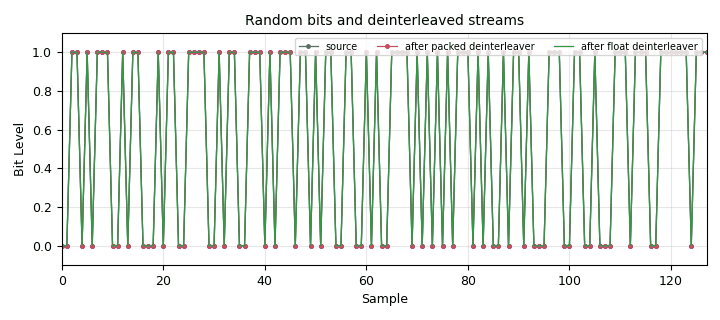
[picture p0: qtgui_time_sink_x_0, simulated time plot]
options:
  parameters:
    author: Johannes Demel
    description: Adapted from GNU Radio's own example (gr-blocks/examples/block_interleaver.grc). The numpy-built index permutation is inlined as a literal.
    generate_options: qt_gui
    id: blockinterleaver
    output_language: python
    title: Block Interleaver Example
  states: {}

blocks:
- name: analog_random_source_bits
  id: analog_random_source_x
  parameters:
    max: '2'
    min: '0'
    num_samps: '1000'
    repeat: 'True'
    type: byte
  states: {}
- name: blocks_blockinterleaver_bb
  id: blocks_blockinterleaver_xx
  parameters:
    comment: unpacked bits interleaver.
    interleaver_indices: interleaver_indices
    interleaver_mode: interleave
    is_packed: 'False'
    type: byte
  states: {}
- name: blocks_blockinterleaver_bb_packed
  id: blocks_blockinterleaver_xx
  parameters:
    comment: Packed (de)interleaver for bit input only.
    interleaver_indices: interleaver_indices
    interleaver_mode: deinterleave
    is_packed: 'True'
    type: byte
  states: {}
- name: blocks_blockinterleaver_ff
  id: blocks_blockinterleaver_xx
  parameters:
    comment: Float deinterleaver with derived de-interleaver indices.
    interleaver_indices: interleaver_indices
    interleaver_mode: deinterleave
    is_packed: 'True'
    type: float
  states: {}
- name: blocks_char_to_float_bb_deinterleaved
  id: blocks_char_to_float
  parameters:
    scale: '1'
  states: {}
- name: blocks_char_to_float_ff_interleaved
  id: blocks_char_to_float
  parameters:
    scale: '1'
  states: {}
- name: blocks_char_to_float_source
  id: blocks_char_to_float
  parameters:
    scale: '1'
  states: {}
- name: blocks_packed_to_unpacked_deinterleaved
  id: blocks_packed_to_unpacked_xx
  parameters:
    bits_per_chunk: '1'
    endianness: gr.GR_MSB_FIRST
    type: byte
  states: {}
- name: blocks_throttle2_0
  id: blocks_throttle2
  parameters:
    samples_per_second: samp_rate
    type: byte
  states: {}
- name: blocks_unpacked_to_packed_interleaved
  id: blocks_unpacked_to_packed_xx
  parameters:
    bits_per_chunk: '1'
    endianness: gr.GR_MSB_FIRST
    type: byte
  states: {}
- name: interleaver_indices
  id: variable
  parameters:
    comment: |-
      Example interleaver indices.
      e.g. `np.random.permutation(64)`.
    value: '[0, 16, 32, 48, 1, 17, 33, 49, 2, 18, 34, 50, 3, 19, 35, 51, 4, 20, 36, 52, 5, 21, 37, 53, 6, 22, 38, 54, 7, 23, 39, 55, 8, 24, 40, 56, 9, 25, 41, 57, 10, 26, 42, 58, 11, 27, 43, 59, 12, 28, 44, 60, 13, 29, 45, 61, 14, 30, 46, 62, 15, 31, 47, 63]'
  states: {}
- name: qtgui_time_sink_x_0
  id: qtgui_time_sink_x
  parameters:
    grid: 'True'
    label1: source
    label2: after packed deinterleaver
    label3: after float deinterleaver
    marker1: '0'
    marker2: '7'
    name: '"Random bits and deinterleaved streams"'
    nconnections: '3'
    size: '128'
    type: float
    ylabel: Bit Level
    ymax: '1.1'
    ymin: '-0.1'
    yunit: '"bit"'
    samp_rate: samp_rate
  states: {}
- name: samp_rate
  id: variable
  parameters:
    value: '32000'
  states: {}

connections:
- [analog_random_source_bits, '0', blocks_throttle2_0, '0']
- [blocks_blockinterleaver_bb, '0', blocks_char_to_float_ff_interleaved, '0']
- [blocks_blockinterleaver_bb, '0', blocks_unpacked_to_packed_interleaved, '0']
- [blocks_blockinterleaver_bb_packed, '0', blocks_packed_to_unpacked_deinterleaved, '0']
- [blocks_blockinterleaver_ff, '0', qtgui_time_sink_x_0, '2']
- [blocks_char_to_float_bb_deinterleaved, '0', qtgui_time_sink_x_0, '1']
- [blocks_char_to_float_ff_interleaved, '0', blocks_blockinterleaver_ff, '0']
- [blocks_char_to_float_source, '0', qtgui_time_sink_x_0, '0']
- [blocks_packed_to_unpacked_deinterleaved, '0', blocks_char_to_float_bb_deinterleaved, '0']
- [blocks_throttle2_0, '0', blocks_blockinterleaver_bb, '0']
- [blocks_throttle2_0, '0', blocks_char_to_float_source, '0']
- [blocks_unpacked_to_packed_interleaved, '0', blocks_blockinterleaver_bb_packed, '0']

metadata:
  file_format: 1
  grc_version: 3.10.10.0
